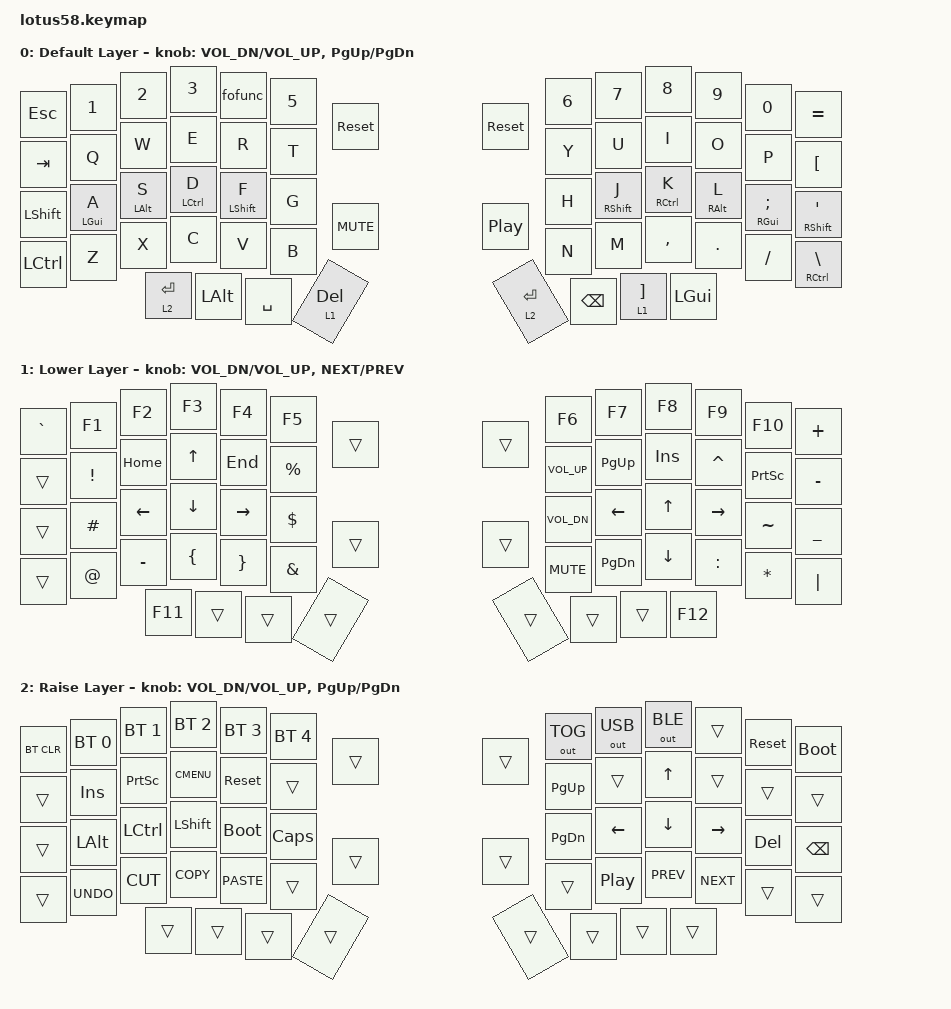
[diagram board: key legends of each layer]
/*
 * Copyright (c) 2022 The ZMK Contributors
 *
 * SPDX-License-Identifier: MIT
 */

#include <behaviors.dtsi>
#include <dt-bindings/zmk/keys.h>
#include <dt-bindings/zmk/bt.h>
#include <dt-bindings/zmk/outputs.h>
#include <dt-bindings/zmk/rgb.h>
#include <dt-bindings/zmk/backlight.h>


/ {
    combos {
        compatible = "zmk,combos";
        combo_dsklg {
            timeout-ms = <100>;
            key-positions = <24 52>;
            layers = <0>;
            bindings = <&kp LGUI>;
        };
    };

    behaviors {
        fofunc: four_ffour {
            compatible = "zmk,behavior-mod-morph";
            #binding-cells = <0>;
            bindings = <&kp N4>, <&kp F4>;
            mods = <(MOD_LALT|MOD_RALT)>;
        };
        sleft: s_left {
            compatible = "zmk,behavior-mod-morph";
            #binding-cells = <0>;
            bindings = <&kp S>, <&kp LEFT>;
            mods = <(MOD_LGUI|MOD_RGUI)>;
        };
        fright: f_right {
            compatible = "zmk,behavior-mod-morph";
            #binding-cells = <0>;
            bindings = <&kp F>, <&kp RIGHT>;
            mods = <(MOD_LGUI|MOD_RGUI)>;
        };
//Added ltq and hm
                ltq: ltq {
            compatible = "zmk,behavior-hold-tap";
            label = "LTQ";
            bindings = <&mo>, <&kp>;

            #binding-cells = <2>;
            tapping-term-ms = <600>;
            global-quick-tap;
            quick-tap-ms = <400>;
        };

                hm: homerow_mods {
            compatible = "zmk,behavior-hold-tap";
            label = "HOMEROW_MODS";
            #binding-cells = <2>;
            tapping-term-ms = <200>;
            quick_tap_ms = <0>;
            flavor = "tap-preferred";
            bindings = <&kp>, <&kp>;

            quick-tap-ms = <180>;
            global-quick-tap;
        };
    };

    keymap {
        compatible = "zmk,keymap";

        default_layer {
            display-name = "Default Layer";
//   ------------------------------------------------------------------------------------------------------------
            bindings = <
        //╭──────────┬──────────┬──────────┬──────────┬──────────┬──────────╮                         ╭──────────┬──────────┬──────────┬──────────┬──────────┬──────────╮
        //│  ESC     │ 1        │  2       │  3       │  4       │  5       │                         │  6       │  7       │  8       │  9       │  0       │    =     │
            &kp ESC   &kp N1      &kp N2     &kp N3     &fofunc   &kp N5                               &kp N6    &kp N7     &kp N8     &kp N9     &kp N0     &kp EQUAL
        //├──────────┼──────────┼──────────┼──────────┼──────────┼──────────┤                         ├──────────┼──────────┼──────────┼──────────┼──────────┼──────────┤
        //│  TAB     │  Q       │  W       │  E       │  R       │ T        │                         │  Y       │  U       │  I       │  O       │  P       │          │
           &kp TAB    &kp Q      &kp W      &kp E      &kp R      &kp T                                &kp Y      &kp U      &kp I      &kp O      &kp P    &kp LBKT
        //├──────────┼──────────┼──────────┼──────────┼──────────┼──────────┼──────────╮   ╭──────────┼──────────┼──────────┼──────────┼──────────┼──────────┼──────────┤
        //│  LSHFT   │  A       │  S       │  D       │  F       │  G       │  RESET   │   │  RESET   │  H       │  J       │  K       │  L       │     ;    │  ' SFT   │    
           &kp LSHFT  &hm LEFT_GUI A &hm LEFT_ALT S &hm LCTRL D  &hm LEFT_SHIFT F &kp G      &sys_reset     &sys_reset &kp H    &hm RSHIFT J      &hm RCTRL K    &hm RIGHT_ALT L  &hm RGUI SEMICOLON   &mt RSHFT SQT
        //├──────────┼──────────┼──────────┼──────────┼──────────┼──────────┼──────────┤   ├──────────┼──────────┼──────────┼──────────┼──────────┼──────────┼──────────┤
        //│  LCTRL   │  Z       │  X       │  C       │  V       │  B       │  MUTE    │   │ PLAY     │  N       │  M       │ , <      │ . >      │  /       │  \ CTRL  │          
           &kp LCTRL  &kp Z      &kp X      &kp C      &kp V      &kp B      &kp C_MUTE     &kp C_PP   &kp N      &kp M      &kp COMMA  &kp DOT    &kp FSLH   &mt RCTRL BSLH
        //╰──────────┴──────────┼──────────┼──────────┼──────────┼──────────┼──────────╯   ╰──────────┼──────────┼──────────┼──────────┼──────────┼──────────┴──────────╯
        //                      │  ENT RS  │  ALT     │  SPACE   │ DEL LW   │                         │  ENTER RS│ BACKSPACE│ l LW     │ RGUI     │
                                 &lt 2 RET   &kp LALT   &kp SPACE &lt 1 DEL                            &lt 2 RET  &kp BSPC   &lt 1 RBKT &kp LGUI
        //                      ╰──────────┴──────────┴──────────┴──────────╯                         ╰──────────┴──────────┴──────────┴──────────╯
            >;

            sensor-bindings = <&inc_dec_kp C_VOL_DN C_VOL_UP &inc_dec_kp PG_UP PG_DN>;
        };

        lower_layer {
            display-name = "Lower Layer";
// ------------------------------------------------------------------------------------------------------------
            bindings = <
        //╭──────────┬──────────┬──────────┬──────────┬──────────┬──────────╮                         ╭──────────┬──────────┬──────────┬──────────┬──────────┬──────────╮
        //│  `       │ F1       │  F2      │  F3      │  F4      │  F5      │                         │  F6      │  F7      │  F8      │  F9      │  F10     │   F11    │
            &kp GRAVE  &kp F1    &kp F2      &kp F3      &kp F4     &kp F5                              &kp F6     &kp F7     &kp F8     &kp F9     &kp F10    &kp PLUS
        //├──────────┼──────────┼──────────┼──────────┼──────────┼──────────┤                         ├──────────┼──────────┼──────────┼──────────┼──────────┼──────────┤
        //|          |  !       | HOME     |   ^      |  END     |  %       |                         | VOL^     |  PGUP    |  INS     |  ^       |  PSCR    |   -      |
            &trans     &kp EXCL  &kp HOME  &kp UP      &kp END    &kp PRCNT                             &kp C_VOL_UP  &kp PG_UP  &kp INS &kp CARET  &kp PSCRN &kp MINUS
        //├──────────┼──────────┼──────────┼──────────┼──────────┼──────────┼──────────╮   ╭──────────┼──────────┼──────────┼──────────┼──────────┼──────────┼──────────┤
        //|          |  #       |  <-      |   v      | ->       |  $       |          |   |          | VOLv     |    <-    |   ^      |  ->      |   ~      |   _      |    
            &trans     &kp HASH  &kp LEFT  &kp DOWN    &kp RIGHT  &kp DLLR  &trans          &trans     &kp C_VOL_DN  &kp LEFT   &kp UP    &kp RIGHT &kp TILDE &kp UNDER
        //├──────────┼──────────┼──────────┼──────────┼──────────┼──────────┼──────────┤   ├──────────┼──────────┼──────────┼──────────┼──────────┼──────────┼──────────┤
        //|          |  @       |  -       |  (       |  )       |  &       |          |   |          | MUTE     |  PGDN    |   v      |  :       |   *      |   |      |          
            &trans     &kp AT    &kp MINUS &kp LBRC    &kp RBRC   &kp AMPS  &trans          &trans     &kp C_MUTE  &kp PG_DN  &kp DOWN  &kp COLON  &kp STAR   &kp PIPE
        //╰──────────┴──────────┼──────────┼──────────┼──────────┼──────────┼──────────╯   ╰──────────┼──────────┼──────────┼──────────┼──────────┼──────────┴──────────╯
        //                      |  F11     |          |          |          |                         |          |          |          |  F12     |
                                &kp F11     &trans     &trans      &trans                                &trans    &trans      &trans     &kp F12
        //                      ╰──────────┴──────────┴──────────┴──────────╯                         ╰──────────┴──────────┴──────────┴──────────╯                               
            >;

            sensor-bindings = <&inc_dec_kp C_VOL_DN C_VOL_UP &inc_dec_kp C_NEXT C_PREV>;
        };

        raise_layer {
            display-name = "Raise Layer";
// ------------------------------------------------------------------------------------------------------------
            bindings = <
        //╭──────────┬──────────┬──────────┬──────────┬──────────┬──────────╮                         ╭──────────┬──────────┬──────────┬──────────┬──────────┬──────────╮
        //|BTCLR     | BT1      | BT2      |  BT3     |  BT4     |  BT5     |                         |OUTTOG    |OUTUSB    | OUTBT    |          | RESET    | FLASH    |
          &bt BT_CLR &bt BT_SEL 0 &bt BT_SEL 1 &bt BT_SEL 2 &bt BT_SEL 3 &bt BT_SEL 4                  &out OUT_TOG  &out OUT_USB &out OUT_BLE &trans &sys_reset &bootloader
        //├──────────┼──────────┼──────────┼──────────┼──────────┼──────────┤                         ├──────────┼──────────┼──────────┼──────────┼──────────┼──────────┤
        //|          | INS      | PSCR     | GUI      | RESET    |          |                         | PGUP     |          |   ^      |          |          |          |
          &trans     &kp INS    &kp PSCRN  &kp K_CMENU &sys_reset  &trans                             &kp PG_UP  &trans     &kp UP     &trans     &trans     &trans
        //├──────────┼──────────┼──────────┼──────────┼──────────┼──────────┼──────────╮   ╭──────────┼──────────┼──────────┼──────────┼──────────┼──────────┼──────────┤
        //|          | ALT      | CTRL     | SHIFT    | FLASH    | CAPS     |          |   |          |     PGDN |       <- |      v   |      ->  |  DEL     |    BSPC  | 
          &trans     &kp LALT   &kp LCTRL  &kp LSHFT  &bootloader &kp CLCK  &trans         &trans     &kp PG_DN  &kp LEFT   &kp DOWN   &kp RIGHT  &kp DEL    &kp BSPC
        //├──────────┼──────────┼──────────┼──────────┼──────────┼──────────┼──────────┤   ├──────────┼──────────┼──────────┼──────────┼──────────┼──────────┼──────────┤
        //|          | UNDO     | CUT      |    COPY  |    PASTE |          |          |   |          |          |  |>      |  <|<|    | |>|>     |          |          |
          &trans     &kp K_UNDO &kp K_CUT  &kp K_COPY &kp K_PASTE &trans    &trans         &trans     &trans     &kp C_PP   &kp C_PREV &kp C_NEXT &trans     &trans
        //╰──────────┴──────────┼──────────┼──────────┼──────────┼──────────┼──────────╯   ╰──────────┼──────────┼──────────┼──────────┼──────────┼──────────┴──────────╯
        //                      |          |          |          |          |                         |          |          |          |          |
                                &trans     &trans     &trans     &trans                               &trans     &trans     &trans     &trans
        //                      ╰──────────┴──────────┴──────────┴──────────╯                         ╰──────────┴──────────┴──────────┴──────────╯   
            >;

            sensor-bindings = <&inc_dec_kp C_VOL_DN C_VOL_UP &inc_dec_kp PG_UP PG_DN>;
        };
        extra1 {
            status = "reserved";
        };
        extra2 {
            status = "reserved";
        };
        extra3 {
            status = "reserved";
        };
        extra4 {
            status = "reserved";
        };

    };
};
